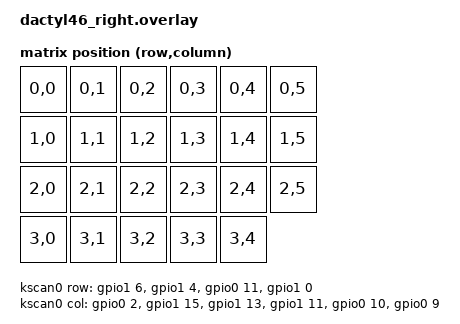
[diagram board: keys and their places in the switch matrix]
#include <dt-bindings/zmk/matrix_transform.h>
#include <dt-bindings/gpio/gpio.h>

/ {
    chosen {
        zmk,kscan            = &kscan0;
        zmk,matrix-transform = &default_transform;
    };

    /* На правой нет крайнего ПРАВОГО thumb (col 5) */
    default_transform: keymap_transform_0 {
        compatible = "zmk,matrix-transform";
        columns    = <6>;
        rows       = <4>;
        map = <
RC(0,0) RC(0,1) RC(0,2) RC(0,3) RC(0,4) RC(0,5)
RC(1,0) RC(1,1) RC(1,2) RC(1,3) RC(1,4) RC(1,5)
RC(2,0) RC(2,1) RC(2,2) RC(2,3) RC(2,4) RC(2,5)
RC(3,0) RC(3,1) RC(3,2) RC(3,3) RC(3,4)
        >;
    };

    kscan0: kscan {
        compatible      = "zmk,kscan-gpio-matrix";
        diode-direction = "col2row";
        wakeup-source;

        /* Строки на правой — в обратном порядке относительно левой,
           чтобы row0 был верхним физическим рядом:
           row0=P1.06, row1=P1.04, row2=P0.11, row3=P1.00 */
        row-gpios
            = <&gpio1 6  (GPIO_ACTIVE_HIGH | GPIO_PULL_DOWN)>
            , <&gpio1 4  (GPIO_ACTIVE_HIGH | GPIO_PULL_DOWN)>
            , <&gpio0 11 (GPIO_ACTIVE_HIGH | GPIO_PULL_DOWN)>
            , <&gpio1 0  (GPIO_ACTIVE_HIGH | GPIO_PULL_DOWN)>
            ;

        /* Столбцы тоже перевёрнуты, чтобы col0 был самым ЛЕВЫМ
           физическим столбцом правой половины (т.е. ближе к центру):
           col0=P0.02, col1=P1.15, col2=P1.13, col3=P1.11, col4=P0.10, col5=P0.09 */
        col-gpios
            = <&gpio0 2  GPIO_ACTIVE_HIGH>
            , <&gpio1 15 GPIO_ACTIVE_HIGH>
            , <&gpio1 13 GPIO_ACTIVE_HIGH>
            , <&gpio1 11 GPIO_ACTIVE_HIGH>
            , <&gpio0 10 GPIO_ACTIVE_HIGH>
            , <&gpio0 9  GPIO_ACTIVE_HIGH>
            ;
    };
};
